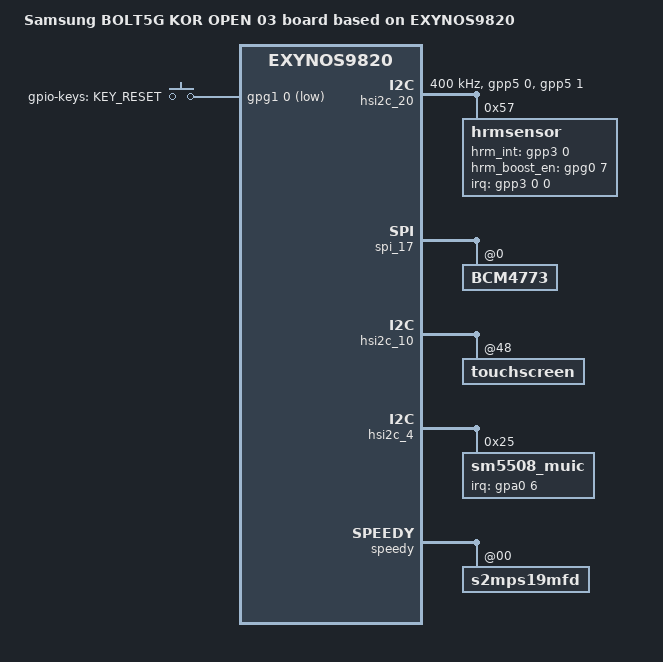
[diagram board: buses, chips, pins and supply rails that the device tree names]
/*
 * SAMSUNG EXYNOS9820 board device tree source
 *
 * Copyright (c) 2018 Samsung Electronics Co., Ltd.
 *		http://www.samsung.com
 *
 * This program is free software; you can redistribute it and/or modify
 * it under the terms of the GNU General Public License version 2 as
 * published by the Free Software Foundation.
*/

/dts-v1/;
/plugin/;
#include "exynos9820-sensorhub.dtsi"
#include "exynos9820-display-lcd.dtsi"
#include "battery_data_bolt_common.dtsi"
#include "exynos9820-bolt5g_if-pmic-max77705.dtsi"
#include <dt-bindings/clock/exynos9820.h>
#include <dt-bindings/pci/pci.h>
#include "exynos9820-bolt5g_common.dtsi"
#include "exynos9820-bolt5g_kor_gpio_02.dtsi"
#include "modem-s5100-sipc-pdata.dtsi"

/ {
	compatible = "samsung,BOLT5G KOR OPEN 03", "samsung,EXYNOS9820";
	dtbo-hw_rev = <3>;
   	dtbo-hw_rev_end = <3>;

	fragment@model {
		target-path = "/";
		__overlay__ {
			#address-cells = <2>;
			#size-cells = <1>;

			model = "Samsung BOLT5G KOR OPEN 03 board based on EXYNOS9820";

			gpio_keys {
				pinctrl-0 = <&key_power &key_reset_rev02>;
				button@2 {
					label = "gpio-keys: KEY_RESET";
					linux,code = <461>;
					gpios = <&gpg1 0 0xf>;
					gpio-key,wakeup = <1>;
				};
			};
		}; /* end of __overlay__ */
	}; /* end of fragment */
}; /* end of root */

&hsi2c_20 {
	gpios = <&gpp5 0 0 &gpp5 1 0>;
	status = "okay";
	clock-frequency = <400000>;

	hrmsensor@57 {
		compatible = "hrmsensor";
		reg = <0x57>;
		interrupt-parent = <&gpp3>;
		interrupts = <0 0 0>;
		pinctrl-names = "default", "sleep", "idle";
		pinctrl-0 = <&hrm_irq &hrm_en>;
		pinctrl-1 = <&hrm_irqsleep &hrm_ensleep>;
		pinctrl-2 = <&hrm_irqidle &hrm_enidle>;
		hrmsensor,hrm_int-gpio = <&gpp3 0 0>;
		hrmsensor,hrm_boost_en-gpio = <&gpg0 7 0>;
		hrmsensor,vdd_1p8 = "S2MPB02_LDO8";
		hrmsensor,i2c_1p8 = "VDD_NFC_1P8";
		hrmsensor,thd = <100000 100000>;
		hrmsensor,init_curr = <0x46 0x41 0x28 0x3c>;
	};
};

&pinctrl_5 {
	hrm_irq: hrm-irq {
		samsung,pins = "gpp3-0";
		samsung,pin-function = <0xf>;
		samsung,pin-pud = <0>;
		samsung,pin-drv = <3>;
	};

	hrm_irqsleep: hrm-irqsleep {
		samsung,pins = "gpp3-0";
		samsung,pin-con-pdn = <2>;
		samsung,pin-pud-pdn = <0>;
	};

	hrm_irqidle: hrm-irqidle {
		samsung,pins = "gpp3-0";
		samsung,pin-function = <0xf>;
		samsung,pin-pud = <0>;
		samsung,pin-drv = <3>;
	};

	hrm_en: hrm-en {
		samsung,pins = "gpg0-7";
		samsung,pin-function = <0>;
		samsung,pin-pud = <1>;
		samsung,pin-drv = <2>;
	};

	hrm_ensleep: hrm-ensleep {
		samsung,pins = "gpg0-7";
		samsung,pin-con-pdn = <2>;
		samsung,pin-pud-pdn = <1>;
	};

	hrm_enidle: hrm-enidle {
		samsung,pins = "gpg0-7";
		samsung,pin-function = <0>;
		samsung,pin-pud = <1>;
		samsung,pin-drv = <2>;
	};

	key_reset_rev02: key-reset-rev02 {
		samsung,pins = "gpg1-0";
		samsung,pin-function = <0xf>;
		samsung,pin-pud = <3>;
		samsung,pin-drv = <0>;
	};
};

&spi_17 {
	BCM4773@0 {
		ssp-acc-position = <7>;
		ssp-mag-position = <5>;
		ssp-mag-array = /bits/ 8 <216 82 110 20 16 123 255 209 211 54 70 37 180 8 0 147 255 113 132 121
					190 252 250 15 9 40 180>;
		ssp-thermi-up = /bits/ 16 <3023 2990 2952 2903 2843 2772 2684 2582 2464 2335 2190 2037 1882 1742
					1558 1397 1246 1103 974 851 746 651 601>;
		ssp-thermi-sub = /bits/ 16 <3021 2990 2951 2903 2843 2771 2685 2584 2467 2339 2195 2044 1891
					1747 1567 1409 1258 1115 986 864 759 662 612>;
	};
};

&hsi2c_10 {
	touchscreen@48 {
		sync-reportrate-120 = "Y";
		sec,project_name = "CROWN", "N960";
		sec,bringup = <1>;
	};
};

&pinctrl_0 {
	muic_int: muic-int {
		samsung,pins = "gpa0-6";
		samsung,pin-function = <0xf>;
		samsung,pin-pud = <0>;
		samsung,pin-drv = <0>;
	};
};

&hsi2c_4 {
	status = "okay";
	sm5508_muic@25 {
		compatible = "sm5508_muic";
		reg = <0x25>;
		pinctrl-names = "default";
		pinctrl-0 = <&muic_int>;
		sm5508_muic,irq-gpio = <&gpa0 6 0>;
	};
};

&speedy {
	s2mps19mfd@00 {
		smpl_warn_en = <1>; /* 1 : enable , 0 : disable */
		smpl_warn_dev2= <1>; 
	};
};
